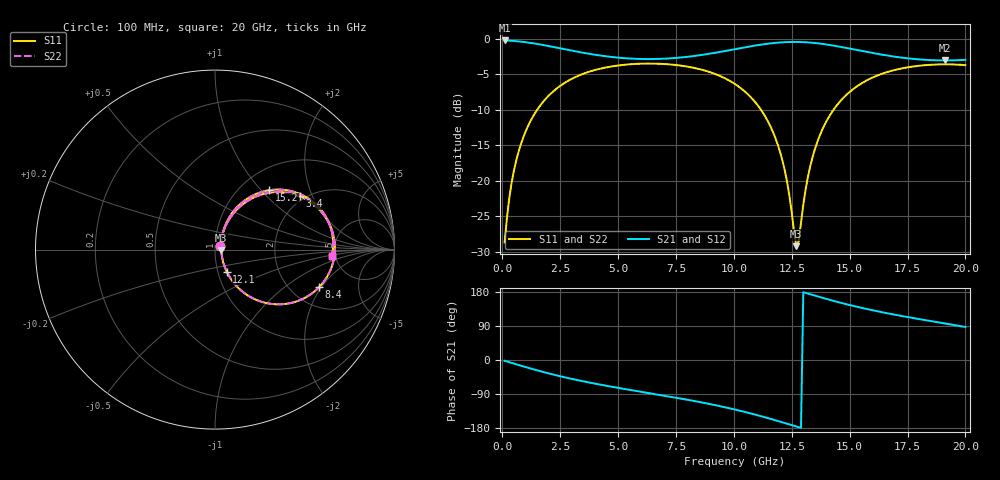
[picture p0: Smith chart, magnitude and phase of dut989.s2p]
! Touchstone file exported from HFSS 2026.1.0
!  File:  C:/ffzhzh/LocalFiles/Ansys_Project_Files/temp_train_TSV_RDL_989_1783288001_38820.aedt
!  Generated:  06:02:08 AM Jul  6, 2026
!  Design:  TSV_RDL
!  Project:  temp_train_TSV_RDL_989_1783288001_38820
! Variables:
!  h_bsmrdl = 4.12um
!  h_ox = 20um
!  h_rdl = 5um
!  h_sub = 72.12um
!  h_tmrdl = 3.64um
!  h_tsv = 72.12um
!  h_via = 3um
!  l_bsmrdl = 487.61um
!  l_sub = 4740.78um
!  l_tmrdl = 695.87um
!  m_sub = 200um
!  pitch = 55.99um
!  r_tsv = 6.55um
!  s_tmrdl = 10um
!  w_bsmrdl = 18.42um
!  w_sub = 500um
!  w_tmrdl = 13.07um
!  x_tsv_center1 = 702.405um
!  x_tsv_center2 = 1208.435um
!  x_tsv_center3 = 1917.375um
!  x_tsv_center4 = 2423.405um
!  x_tsv_center5 = 3132.345um
!  x_tsv_center6 = 3638.375um
# GHz S MA R 50.000000
! Terminal data exported
! Port[1] = TM_RDL1_1_T1
! Port[2] = TM_RDL5_1_T1
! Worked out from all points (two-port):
!   200 points, 100 MHz to 20 GHz, reference 50 ohm
!   highest |S21| = -0.25 dB at 100 MHz (marker M1); lowest = -3.1 dB at 19.1 GHz (marker M2)
!   |S21| within 3 dB of the highest: start of sweep to end of sweep
!   lowest |S11| = -29.2 dB at 12.7 GHz (marker M3), VSWR 1.07, Z = 53.6 - j0.452 ohm
!   |S11| at or under -10 dB: start of sweep to 1.506 GHz; 11.17 GHz to 14.3 GHz (3.135 GHz wide, 24.6 % of centre)
!   |S22| runs from -29.1 to -3.5 dB; largest |S21 - S12| = 1.7e-14
!   S11 on the Smith chart (normalised r, x): 100 MHz: 1.06, +0.05; 3.4 GHz: 1.88, +1.62; 8.4 GHz: 2.82, -1.90; 12.1 GHz: 1.10, -0.28; 15.2 GHz: 1.34, +1.11; 20 GHz: 4.67, -0.55
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0.1  0.03697 37.5  0.9712 -1.9  0.9712 -1.9  0.03697 37.5
! Gamma 0 0 0 0
! Port Impedance 50 0 50 0
0.3  0.07539 61.1  0.968 -5.7  0.968 -5.7  0.07539 61.1
0.5  0.1177 65.5  0.9631 -9.5  0.9631 -9.5  0.1177 65.5
1.1  0.2408 62.2  0.9396 -20.3  0.9396 -20.3  0.2408 62.2
2  0.3969 50.2  0.8872 -35.3  0.8872 -35.3  0.3969 50.2
3.4  0.5586 32.1  0.8007 -55.1  0.8007 -55.1  0.5586 32.1
3.5  0.5667 30.9  0.7953 -56.3  0.7953 -56.3  0.5667 30.9
5.1  0.6507 13.4  0.7331 -74.6  0.7331 -74.6  0.6507 13.4
6.8  0.6658 -3.4  0.7209 -92.2  0.7209 -92.2  0.6658 -3.4
8.4  0.617 -19.8  0.7595 -109.5  0.7595 -109.5  0.617 -19.8
10.1  0.4737 -40.1  0.8461 -131.4  0.8461 -131.4  0.4737 -40.0
11.3  0.2935 -55.9  0.9135 -150.4  0.9135 -150.4  0.2935 -55.8
12.1  0.1388 -62.0  0.9425 -164.5  0.9425 -164.5  0.1389 -61.9
12.7  0.03479 -7.0  0.9482 -175.5  0.9482 -175.5  0.03519 -6.8
12.8  0.03767 25.7  0.9476 -177.4  0.9476 -177.4  0.03806 25.5
13.1  0.08715 62.7  0.9433 177.1  0.9433 177.1  0.08734 62.4
13.4  0.1471 67.1  0.9352 171.7  0.9352 171.7  0.1472 66.9
14.1  0.2807 61.7  0.9046 159.4  0.9046 159.4  0.2808 61.6
15.2  0.448 47.6  0.8393 142.1  0.8393 142.1  0.448 47.5
16.7  0.5873 29.8  0.7575 122.5  0.7575 122.5  0.5874 29.7
19.1  0.6599 5.7  0.7028 96.5  0.7028 96.5  0.66 5.6
20  0.6515 -3.0  0.7098 87.2  0.7098 87.2  0.6515 -3.1
